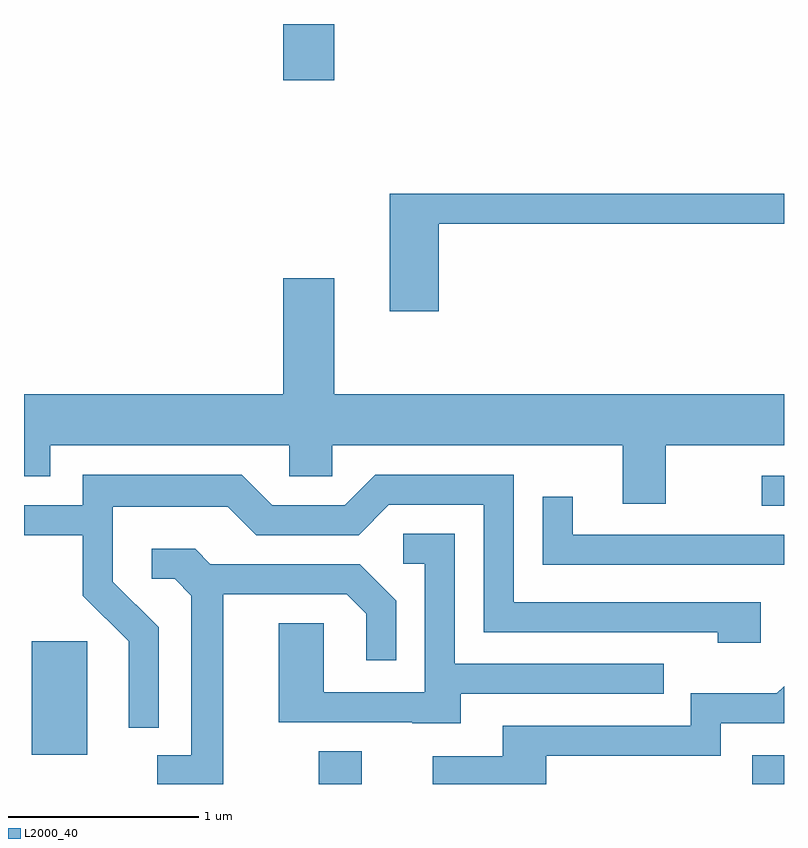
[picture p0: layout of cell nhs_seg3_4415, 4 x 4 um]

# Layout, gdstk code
import gdstk
lib = gdstk.Library(unit=1e-6, precision=1e-09)
def R(c, l, rs):  # rectangles x0, y0, x1, y1
    for r in rs: c.add(gdstk.rectangle(r[:2], r[2:], *l))
def P(c, l, *ps):  # polygons
    for p in ps: c.add(gdstk.Polygon(p, *l))
L2000_40 = (2000, 40)

nhs_seg3_4415 = lib.new_cell('nhs_seg3_4415')
R(nhs_seg3_4415, L2000_40, [(315.161,1241.892,315.389,1242.064), (317.443,1241.892,317.611,1242.044), (313.651,1242.046,313.944,1242.644), (317.493,1243.356,317.611,1243.514), (314.976,1245.596,315.244,1245.892)])
P(nhs_seg3_4415, L2000_40, [(315.794,1244.841),(317.611,1244.841),(317.611,1244.999),(315.536,1244.999),(315.536,1244.381),(315.794,1244.381)],
  [(316.989,1243.676),(317.611,1243.676),(317.611,1243.944),(315.244,1243.944),(315.244,1244.554),(314.976,1244.554),(314.976,1243.944),(313.611,1243.944),(313.611,1243.511),(313.749,1243.511),(313.749,1243.676),(315.006,1243.676),(315.006,1243.511),(315.234,1243.511),(315.234,1243.676),(316.761,1243.676),(316.761,1243.366),(316.989,1243.366)],
  [(314.319,1242.717),(314.079,1242.957),(314.079,1243.351),(314.684,1243.351),(314.834,1243.201),(315.372,1243.201),(315.532,1243.361),(316.031,1243.361),(316.031,1242.691),(317.261,1242.691),(317.261,1242.636),(317.489,1242.636),(317.489,1242.849),(316.189,1242.849),(316.189,1243.519),(315.459,1243.519),(315.299,1243.359),(314.917,1243.359),(314.757,1243.519),(313.921,1243.519),(313.921,1243.359),(313.611,1243.359),(313.611,1243.201),(313.921,1243.201),(313.921,1242.884),(314.161,1242.644),(314.161,1242.188),(314.319,1242.188)],
  [(317.611,1243.204),(316.499,1243.204),(316.499,1243.403),(316.341,1243.403),(316.341,1243.046),(317.611,1243.046)],
  [(315.909,1242.366),(316.978,1242.366),(316.978,1242.524),(315.879,1242.524),(315.879,1243.209),(315.608,1243.209),(315.608,1243.051),(315.721,1243.051),(315.721,1242.374),(315.189,1242.374),(315.189,1242.739),(314.951,1242.739),(314.951,1242.216),(315.655,1242.216),(315.655,1242.211),(315.909,1242.211)],
  [(314.659,1242.891),(315.309,1242.891),(315.411,1242.789),(315.411,1242.543),(315.569,1242.543),(315.569,1242.857),(315.377,1243.049),(314.592,1243.049),(314.512,1243.129),(314.283,1243.129),(314.283,1242.971),(314.404,1242.971),(314.491,1242.884),(314.491,1242.044),(314.313,1242.044),(314.313,1241.892),(314.659,1241.892)],
  [(316.359,1242.041),(317.279,1242.041),(317.279,1242.211),(317.611,1242.211),(317.611,1242.406),(317.574,1242.369),(317.121,1242.369),(317.121,1242.199),(316.131,1242.199),(316.131,1242.039),(315.763,1242.039),(315.763,1241.892),(316.359,1241.892)])

lib.write_gds('nhs_seg3_4415.gds')
